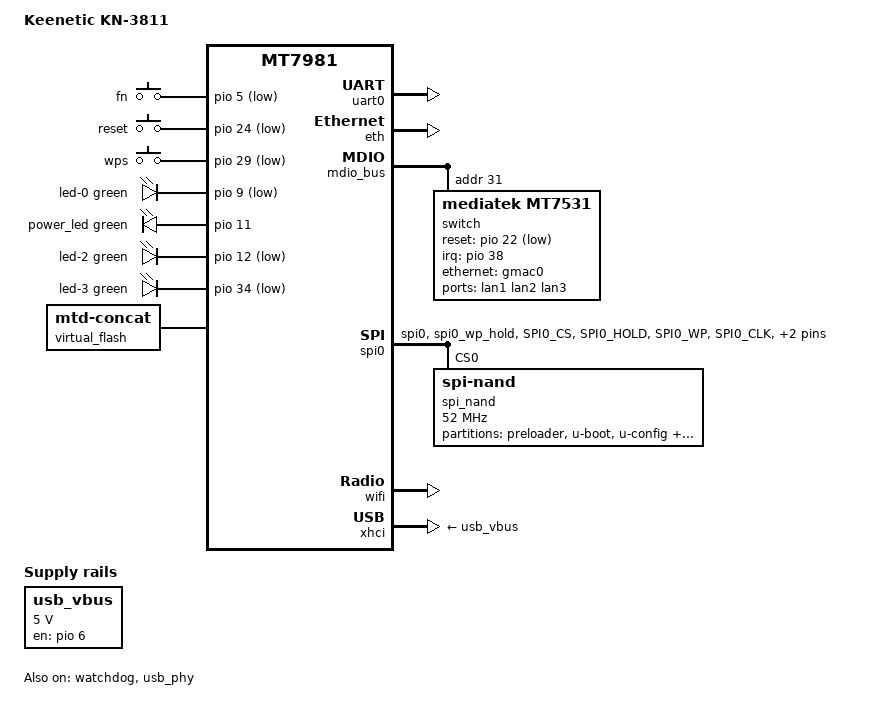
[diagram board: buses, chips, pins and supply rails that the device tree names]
// SPDX-License-Identifier: GPL-2.0-only OR MIT

/dts-v1/;

#include "mt7981b.dtsi"

/ {
	model = "Keenetic KN-3811";
	compatible = "keenetic,kn-3811", "mediatek,mt7981";

	aliases {
		label-mac-device = &gmac0;
		led-boot = &power_led;
		led-failsafe = &power_led;
		led-running = &power_led;
		led-upgrade = &power_led;
		serial0 = &uart0;
	};

	chosen {
		stdout-path = "serial0:115200n8";
	};

	gpio-keys {
		compatible = "gpio-keys";

		button-fn {
			label = "fn";
			linux,code = <BTN_0>;
			gpios = <&pio 5 GPIO_ACTIVE_LOW>;
		};

		button-reset {
			label = "reset";
			linux,code = <KEY_RESTART>;
			gpios = <&pio 24 GPIO_ACTIVE_LOW>;
		};

		button-wps {
			label = "wps";
			linux,code = <KEY_WPS_BUTTON>;
			gpios = <&pio 29 GPIO_ACTIVE_LOW>;
		};
	};

	gpio-leds {
		compatible = "gpio-leds";

		/* fn led reassigned to wlan 2.4 */
		led-0 {
			color = <LED_COLOR_ID_GREEN>;
			function = LED_FUNCTION_WLAN_2GHZ;
			gpios = <&pio 9 GPIO_ACTIVE_LOW>;
			linux,default-trigger = "phy0tpt";
		};

		power_led: led-1 {
			color = <LED_COLOR_ID_GREEN>;
			function = LED_FUNCTION_POWER;
			gpios = <&pio 11 GPIO_ACTIVE_HIGH>;
		};

		led-2 {
			color = <LED_COLOR_ID_GREEN>;
			function = LED_FUNCTION_WAN;
			gpios = <&pio 12 GPIO_ACTIVE_LOW>;
		};

		led-3 {
			color = <LED_COLOR_ID_GREEN>;
			function = LED_FUNCTION_WLAN_5GHZ;
			gpios = <&pio 34 GPIO_ACTIVE_LOW>;
			linux,default-trigger = "phy1tpt";
		};
	};

	usb_vbus: regulator-usb-vbus {
		compatible = "regulator-fixed";
		regulator-name = "usb_vbus";
		regulator-min-microvolt = <5000000>;
		regulator-max-microvolt = <5000000>;
		gpios = <&pio 6 GPIO_ACTIVE_HIGH>;
		enable-active-high;
		regulator-boot-on;
	};

	virtual_flash {
		compatible = "mtd-concat";
		devices = <&firmware1 &storage1 &firmware2 &storage2>;

		partitions {
			compatible = "fixed-partitions";
			#address-cells = <1>;
			#size-cells = <1>;

			partition@0 {
				label = "kernel";
				reg = <0x0 0x600000>;
			};

			partition@400000 {
				label = "ubi";
				reg = <0x600000 0x0>;
			};
		};
	};
};

&uart0 {
	status = "okay";
};

&watchdog {
	status = "okay";
};

&eth {
	status = "okay";

	gmac0: mac@0 {
		compatible = "mediatek,eth-mac";
		reg = <0>;
		phy-mode = "2500base-x";

		nvmem-cell-names = "mac-address";
		nvmem-cells = <&macaddr_factory_4 0>;

		fixed-link {
			speed = <2500>;
			full-duplex;
			pause;
		};
	};

	gmac1: mac@1 {
		compatible = "mediatek,eth-mac";
		reg = <1>;
		phy-mode = "gmii";
		phy-handle = <&int_gbe_phy>;
		label = "wan";

		nvmem-cell-names = "mac-address";
		nvmem-cells = <&macaddr_factory_a 0>;
	};
};

&mdio_bus {
	switch: switch@1f {
		compatible = "mediatek,mt7531";
		reg = <0x1f>;
		reset-gpios = <&pio 22 GPIO_ACTIVE_LOW>;
		interrupt-controller;
		#interrupt-cells = <1>;
		interrupt-parent = <&pio>;
		interrupts = <38 IRQ_TYPE_LEVEL_HIGH>;
	};
};

&switch {
	ports {
		#address-cells = <1>;
		#size-cells = <0>;

		port@0 {
			reg = <0>;
			label = "lan1";
		};

		port@1 {
			reg = <1>;
			label = "lan2";
		};

		port@2 {
			reg = <2>;
			label = "lan3";
		};

		port@6 {
			reg = <6>;
			ethernet = <&gmac0>;
			phy-mode = "2500base-x";

			fixed-link {
				speed = <2500>;
				full-duplex;
				pause;
			};
		};
	};
};

&pio {
	spi0_flash_pins: spi0-pins {
		mux {
			function = "spi";
			groups = "spi0", "spi0_wp_hold";
		};

		conf-pu {
			pins = "SPI0_CS", "SPI0_HOLD", "SPI0_WP";
			drive-strength = <MTK_DRIVE_8mA>;
			bias-pull-up = <MTK_PUPD_SET_R1R0_11>;
		};

		conf-pd {
			pins = "SPI0_CLK", "SPI0_MOSI", "SPI0_MISO";
			drive-strength = <MTK_DRIVE_8mA>;
			bias-pull-down = <MTK_PUPD_SET_R1R0_11>;
		};
	};
};

&spi0 {
	pinctrl-names = "default";
	pinctrl-0 = <&spi0_flash_pins>;
	status = "okay";

	/* Winbond W25N02KV (256M) */
	spi_nand@0 {
		#address-cells = <1>;
		#size-cells = <1>;
		compatible = "spi-nand";
		reg = <0>;

		spi-max-frequency = <52000000>;
		spi-tx-buswidth = <4>;
		spi-rx-buswidth = <4>;

		spi-cal-enable;
		spi-cal-mode = "read-data";
		spi-cal-datalen = <7>;
		spi-cal-data = /bits/ 8 <0x53 0x50 0x49 0x4e 0x41 0x4e 0x44>;
		spi-cal-addrlen = <5>;
		spi-cal-addr = /bits/ 32 <0x0 0x0 0x0 0x0 0x0>;

		mediatek,nmbm;
		mediatek,bmt-max-ratio = <1>;
		mediatek,bmt-max-reserved-blocks = <64>;

		partitions {
			compatible = "fixed-partitions";
			#address-cells = <1>;
			#size-cells = <1>;

			/* bl2 */
			partition@0 {
				label = "preloader";
				reg = <0x0 0x80000>;
				read-only;
			};

			/* fip */
			partition@80000 {
				label = "u-boot";
				reg = <0x80000 0x200000>;
				read-only;
			};

			partition@280000 {
				label = "u-config";
				reg = <0x280000 0x80000>;
				read-only;
			};

			partition@300000 {
				label = "rf-eeprom";
				reg = <0x300000 0x200000>;
				read-only;

				nvmem-layout {
					compatible = "fixed-layout";
					#address-cells = <1>;
					#size-cells = <1>;

					eeprom_factory_0: eeprom@0 {
						reg = <0x0 0x1000>;
					};

					/* lan mac */
					macaddr_factory_4: macaddr@4 {
						compatible = "mac-base";
						reg = <0x4 0x6>;
						#nvmem-cell-cells = <1>;
					};

					/* wan mac */
					macaddr_factory_a: macaddr@a {
						compatible = "mac-base";
						reg = <0xa 0x6>;
						#nvmem-cell-cells = <1>;
					};
				};
			};

			firmware1: partition@500000 {
				label = "firmware_1";
				reg = <0x500000 0x3a00000>;
			};

			partition@3f00000 {
				label = "config_1";
				reg = <0x3f00000 0x80000>;
				read-only;
			};

			partition@3f80000 {
				label = "dump";
				reg = <0x3f80000 0x80000>;
				read-only;
			};

			storage1: partition@4000000 {
				label = "storage_a";
				reg = <0x4000000 0x3800000>;
			};

			partition@7800000 {
				label = "u-state";
				reg = <0x7800000 0x20000>;
				read-only;
			};

			partition@7a80000 {
				label = "u-config_res";
				reg = <0x7a80000 0x80000>;
				read-only;
			};

			partition@7b00000 {
				label = "rf-eeprom_res";
				reg = <0x7b00000 0x200000>;
				read-only;
			};

			firmware2: partition@7d00000 {
				label = "firmware_2";
				reg = <0x7d00000 0x3a00000>;
			};

			partition@b700000 {
				label = "config_2";
				reg = <0xb700000 0x80000>;
				read-only;
			};

			storage2: partition@b780000 {
				label = "storage_b";
				reg = <0xb780000 0x3880000>;
			};
		};
	};
};

&wifi {
	nvmem-cell-names = "eeprom";
	nvmem-cells = <&eeprom_factory_0>;
	status = "okay";
};

&usb_phy {
	status = "okay";
};

&xhci {
	status = "okay";
	vbus-supply = <&usb_vbus>;
};
